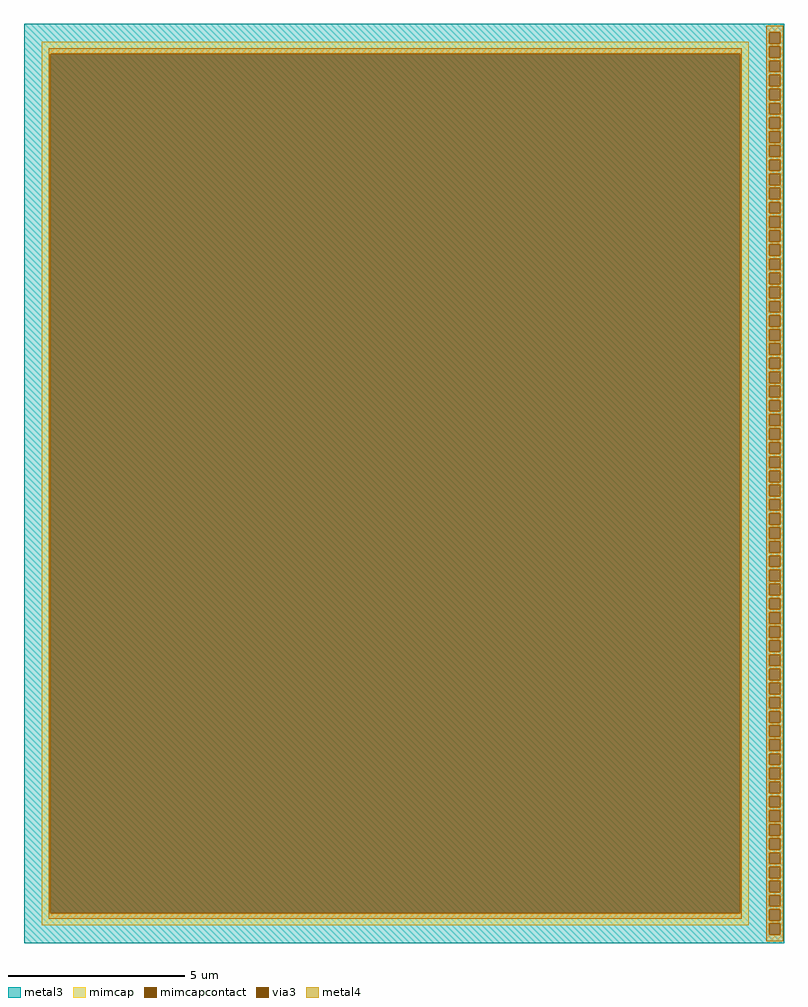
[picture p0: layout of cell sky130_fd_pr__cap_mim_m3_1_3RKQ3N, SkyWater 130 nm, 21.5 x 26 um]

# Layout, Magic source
magic
tech sky130A
magscale 1 2
<< metal3 >>
rect -2150 2552 2149 2600
rect -2150 2488 2065 2552
rect 2129 2488 2149 2552
rect -2150 2472 2149 2488
rect -2150 2408 2065 2472
rect 2129 2408 2149 2472
rect -2150 2392 2149 2408
rect -2150 2328 2065 2392
rect 2129 2328 2149 2392
rect -2150 2312 2149 2328
rect -2150 2248 2065 2312
rect 2129 2248 2149 2312
rect -2150 2232 2149 2248
rect -2150 2168 2065 2232
rect 2129 2168 2149 2232
rect -2150 2152 2149 2168
rect -2150 2088 2065 2152
rect 2129 2088 2149 2152
rect -2150 2072 2149 2088
rect -2150 2008 2065 2072
rect 2129 2008 2149 2072
rect -2150 1992 2149 2008
rect -2150 1928 2065 1992
rect 2129 1928 2149 1992
rect -2150 1912 2149 1928
rect -2150 1848 2065 1912
rect 2129 1848 2149 1912
rect -2150 1832 2149 1848
rect -2150 1768 2065 1832
rect 2129 1768 2149 1832
rect -2150 1752 2149 1768
rect -2150 1688 2065 1752
rect 2129 1688 2149 1752
rect -2150 1672 2149 1688
rect -2150 1608 2065 1672
rect 2129 1608 2149 1672
rect -2150 1592 2149 1608
rect -2150 1528 2065 1592
rect 2129 1528 2149 1592
rect -2150 1512 2149 1528
rect -2150 1448 2065 1512
rect 2129 1448 2149 1512
rect -2150 1432 2149 1448
rect -2150 1368 2065 1432
rect 2129 1368 2149 1432
rect -2150 1352 2149 1368
rect -2150 1288 2065 1352
rect 2129 1288 2149 1352
rect -2150 1272 2149 1288
rect -2150 1208 2065 1272
rect 2129 1208 2149 1272
rect -2150 1192 2149 1208
rect -2150 1128 2065 1192
rect 2129 1128 2149 1192
rect -2150 1112 2149 1128
rect -2150 1048 2065 1112
rect 2129 1048 2149 1112
rect -2150 1032 2149 1048
rect -2150 968 2065 1032
rect 2129 968 2149 1032
rect -2150 952 2149 968
rect -2150 888 2065 952
rect 2129 888 2149 952
rect -2150 872 2149 888
rect -2150 808 2065 872
rect 2129 808 2149 872
rect -2150 792 2149 808
rect -2150 728 2065 792
rect 2129 728 2149 792
rect -2150 712 2149 728
rect -2150 648 2065 712
rect 2129 648 2149 712
rect -2150 632 2149 648
rect -2150 568 2065 632
rect 2129 568 2149 632
rect -2150 552 2149 568
rect -2150 488 2065 552
rect 2129 488 2149 552
rect -2150 472 2149 488
rect -2150 408 2065 472
rect 2129 408 2149 472
rect -2150 392 2149 408
rect -2150 328 2065 392
rect 2129 328 2149 392
rect -2150 312 2149 328
rect -2150 248 2065 312
rect 2129 248 2149 312
rect -2150 232 2149 248
rect -2150 168 2065 232
rect 2129 168 2149 232
rect -2150 152 2149 168
rect -2150 88 2065 152
rect 2129 88 2149 152
rect -2150 72 2149 88
rect -2150 8 2065 72
rect 2129 8 2149 72
rect -2150 -8 2149 8
rect -2150 -72 2065 -8
rect 2129 -72 2149 -8
rect -2150 -88 2149 -72
rect -2150 -152 2065 -88
rect 2129 -152 2149 -88
rect -2150 -168 2149 -152
rect -2150 -232 2065 -168
rect 2129 -232 2149 -168
rect -2150 -248 2149 -232
rect -2150 -312 2065 -248
rect 2129 -312 2149 -248
rect -2150 -328 2149 -312
rect -2150 -392 2065 -328
rect 2129 -392 2149 -328
rect -2150 -408 2149 -392
rect -2150 -472 2065 -408
rect 2129 -472 2149 -408
rect -2150 -488 2149 -472
rect -2150 -552 2065 -488
rect 2129 -552 2149 -488
rect -2150 -568 2149 -552
rect -2150 -632 2065 -568
rect 2129 -632 2149 -568
rect -2150 -648 2149 -632
rect -2150 -712 2065 -648
rect 2129 -712 2149 -648
rect -2150 -728 2149 -712
rect -2150 -792 2065 -728
rect 2129 -792 2149 -728
rect -2150 -808 2149 -792
rect -2150 -872 2065 -808
rect 2129 -872 2149 -808
rect -2150 -888 2149 -872
rect -2150 -952 2065 -888
rect 2129 -952 2149 -888
rect -2150 -968 2149 -952
rect -2150 -1032 2065 -968
rect 2129 -1032 2149 -968
rect -2150 -1048 2149 -1032
rect -2150 -1112 2065 -1048
rect 2129 -1112 2149 -1048
rect -2150 -1128 2149 -1112
rect -2150 -1192 2065 -1128
rect 2129 -1192 2149 -1128
rect -2150 -1208 2149 -1192
rect -2150 -1272 2065 -1208
rect 2129 -1272 2149 -1208
rect -2150 -1288 2149 -1272
rect -2150 -1352 2065 -1288
rect 2129 -1352 2149 -1288
rect -2150 -1368 2149 -1352
rect -2150 -1432 2065 -1368
rect 2129 -1432 2149 -1368
rect -2150 -1448 2149 -1432
rect -2150 -1512 2065 -1448
rect 2129 -1512 2149 -1448
rect -2150 -1528 2149 -1512
rect -2150 -1592 2065 -1528
rect 2129 -1592 2149 -1528
rect -2150 -1608 2149 -1592
rect -2150 -1672 2065 -1608
rect 2129 -1672 2149 -1608
rect -2150 -1688 2149 -1672
rect -2150 -1752 2065 -1688
rect 2129 -1752 2149 -1688
rect -2150 -1768 2149 -1752
rect -2150 -1832 2065 -1768
rect 2129 -1832 2149 -1768
rect -2150 -1848 2149 -1832
rect -2150 -1912 2065 -1848
rect 2129 -1912 2149 -1848
rect -2150 -1928 2149 -1912
rect -2150 -1992 2065 -1928
rect 2129 -1992 2149 -1928
rect -2150 -2008 2149 -1992
rect -2150 -2072 2065 -2008
rect 2129 -2072 2149 -2008
rect -2150 -2088 2149 -2072
rect -2150 -2152 2065 -2088
rect 2129 -2152 2149 -2088
rect -2150 -2168 2149 -2152
rect -2150 -2232 2065 -2168
rect 2129 -2232 2149 -2168
rect -2150 -2248 2149 -2232
rect -2150 -2312 2065 -2248
rect 2129 -2312 2149 -2248
rect -2150 -2328 2149 -2312
rect -2150 -2392 2065 -2328
rect 2129 -2392 2149 -2328
rect -2150 -2408 2149 -2392
rect -2150 -2472 2065 -2408
rect 2129 -2472 2149 -2408
rect -2150 -2488 2149 -2472
rect -2150 -2552 2065 -2488
rect 2129 -2552 2149 -2488
rect -2150 -2600 2149 -2552
<< via3 >>
rect 2065 2488 2129 2552
rect 2065 2408 2129 2472
rect 2065 2328 2129 2392
rect 2065 2248 2129 2312
rect 2065 2168 2129 2232
rect 2065 2088 2129 2152
rect 2065 2008 2129 2072
rect 2065 1928 2129 1992
rect 2065 1848 2129 1912
rect 2065 1768 2129 1832
rect 2065 1688 2129 1752
rect 2065 1608 2129 1672
rect 2065 1528 2129 1592
rect 2065 1448 2129 1512
rect 2065 1368 2129 1432
rect 2065 1288 2129 1352
rect 2065 1208 2129 1272
rect 2065 1128 2129 1192
rect 2065 1048 2129 1112
rect 2065 968 2129 1032
rect 2065 888 2129 952
rect 2065 808 2129 872
rect 2065 728 2129 792
rect 2065 648 2129 712
rect 2065 568 2129 632
rect 2065 488 2129 552
rect 2065 408 2129 472
rect 2065 328 2129 392
rect 2065 248 2129 312
rect 2065 168 2129 232
rect 2065 88 2129 152
rect 2065 8 2129 72
rect 2065 -72 2129 -8
rect 2065 -152 2129 -88
rect 2065 -232 2129 -168
rect 2065 -312 2129 -248
rect 2065 -392 2129 -328
rect 2065 -472 2129 -408
rect 2065 -552 2129 -488
rect 2065 -632 2129 -568
rect 2065 -712 2129 -648
rect 2065 -792 2129 -728
rect 2065 -872 2129 -808
rect 2065 -952 2129 -888
rect 2065 -1032 2129 -968
rect 2065 -1112 2129 -1048
rect 2065 -1192 2129 -1128
rect 2065 -1272 2129 -1208
rect 2065 -1352 2129 -1288
rect 2065 -1432 2129 -1368
rect 2065 -1512 2129 -1448
rect 2065 -1592 2129 -1528
rect 2065 -1672 2129 -1608
rect 2065 -1752 2129 -1688
rect 2065 -1832 2129 -1768
rect 2065 -1912 2129 -1848
rect 2065 -1992 2129 -1928
rect 2065 -2072 2129 -2008
rect 2065 -2152 2129 -2088
rect 2065 -2232 2129 -2168
rect 2065 -2312 2129 -2248
rect 2065 -2392 2129 -2328
rect 2065 -2472 2129 -2408
rect 2065 -2552 2129 -2488
<< mimcap >>
rect -2050 2432 1950 2500
rect -2050 -2432 -2002 2432
rect 1902 -2432 1950 2432
rect -2050 -2500 1950 -2432
<< mimcapcontact >>
rect -2002 -2432 1902 2432
<< metal4 >>
rect 2049 2552 2145 2588
rect 2049 2488 2065 2552
rect 2129 2488 2145 2552
rect 2049 2472 2145 2488
rect -2011 2432 1911 2461
rect -2011 -2432 -2002 2432
rect 1902 -2432 1911 2432
rect -2011 -2461 1911 -2432
rect 2049 2408 2065 2472
rect 2129 2408 2145 2472
rect 2049 2392 2145 2408
rect 2049 2328 2065 2392
rect 2129 2328 2145 2392
rect 2049 2312 2145 2328
rect 2049 2248 2065 2312
rect 2129 2248 2145 2312
rect 2049 2232 2145 2248
rect 2049 2168 2065 2232
rect 2129 2168 2145 2232
rect 2049 2152 2145 2168
rect 2049 2088 2065 2152
rect 2129 2088 2145 2152
rect 2049 2072 2145 2088
rect 2049 2008 2065 2072
rect 2129 2008 2145 2072
rect 2049 1992 2145 2008
rect 2049 1928 2065 1992
rect 2129 1928 2145 1992
rect 2049 1912 2145 1928
rect 2049 1848 2065 1912
rect 2129 1848 2145 1912
rect 2049 1832 2145 1848
rect 2049 1768 2065 1832
rect 2129 1768 2145 1832
rect 2049 1752 2145 1768
rect 2049 1688 2065 1752
rect 2129 1688 2145 1752
rect 2049 1672 2145 1688
rect 2049 1608 2065 1672
rect 2129 1608 2145 1672
rect 2049 1592 2145 1608
rect 2049 1528 2065 1592
rect 2129 1528 2145 1592
rect 2049 1512 2145 1528
rect 2049 1448 2065 1512
rect 2129 1448 2145 1512
rect 2049 1432 2145 1448
rect 2049 1368 2065 1432
rect 2129 1368 2145 1432
rect 2049 1352 2145 1368
rect 2049 1288 2065 1352
rect 2129 1288 2145 1352
rect 2049 1272 2145 1288
rect 2049 1208 2065 1272
rect 2129 1208 2145 1272
rect 2049 1192 2145 1208
rect 2049 1128 2065 1192
rect 2129 1128 2145 1192
rect 2049 1112 2145 1128
rect 2049 1048 2065 1112
rect 2129 1048 2145 1112
rect 2049 1032 2145 1048
rect 2049 968 2065 1032
rect 2129 968 2145 1032
rect 2049 952 2145 968
rect 2049 888 2065 952
rect 2129 888 2145 952
rect 2049 872 2145 888
rect 2049 808 2065 872
rect 2129 808 2145 872
rect 2049 792 2145 808
rect 2049 728 2065 792
rect 2129 728 2145 792
rect 2049 712 2145 728
rect 2049 648 2065 712
rect 2129 648 2145 712
rect 2049 632 2145 648
rect 2049 568 2065 632
rect 2129 568 2145 632
rect 2049 552 2145 568
rect 2049 488 2065 552
rect 2129 488 2145 552
rect 2049 472 2145 488
rect 2049 408 2065 472
rect 2129 408 2145 472
rect 2049 392 2145 408
rect 2049 328 2065 392
rect 2129 328 2145 392
rect 2049 312 2145 328
rect 2049 248 2065 312
rect 2129 248 2145 312
rect 2049 232 2145 248
rect 2049 168 2065 232
rect 2129 168 2145 232
rect 2049 152 2145 168
rect 2049 88 2065 152
rect 2129 88 2145 152
rect 2049 72 2145 88
rect 2049 8 2065 72
rect 2129 8 2145 72
rect 2049 -8 2145 8
rect 2049 -72 2065 -8
rect 2129 -72 2145 -8
rect 2049 -88 2145 -72
rect 2049 -152 2065 -88
rect 2129 -152 2145 -88
rect 2049 -168 2145 -152
rect 2049 -232 2065 -168
rect 2129 -232 2145 -168
rect 2049 -248 2145 -232
rect 2049 -312 2065 -248
rect 2129 -312 2145 -248
rect 2049 -328 2145 -312
rect 2049 -392 2065 -328
rect 2129 -392 2145 -328
rect 2049 -408 2145 -392
rect 2049 -472 2065 -408
rect 2129 -472 2145 -408
rect 2049 -488 2145 -472
rect 2049 -552 2065 -488
rect 2129 -552 2145 -488
rect 2049 -568 2145 -552
rect 2049 -632 2065 -568
rect 2129 -632 2145 -568
rect 2049 -648 2145 -632
rect 2049 -712 2065 -648
rect 2129 -712 2145 -648
rect 2049 -728 2145 -712
rect 2049 -792 2065 -728
rect 2129 -792 2145 -728
rect 2049 -808 2145 -792
rect 2049 -872 2065 -808
rect 2129 -872 2145 -808
rect 2049 -888 2145 -872
rect 2049 -952 2065 -888
rect 2129 -952 2145 -888
rect 2049 -968 2145 -952
rect 2049 -1032 2065 -968
rect 2129 -1032 2145 -968
rect 2049 -1048 2145 -1032
rect 2049 -1112 2065 -1048
rect 2129 -1112 2145 -1048
rect 2049 -1128 2145 -1112
rect 2049 -1192 2065 -1128
rect 2129 -1192 2145 -1128
rect 2049 -1208 2145 -1192
rect 2049 -1272 2065 -1208
rect 2129 -1272 2145 -1208
rect 2049 -1288 2145 -1272
rect 2049 -1352 2065 -1288
rect 2129 -1352 2145 -1288
rect 2049 -1368 2145 -1352
rect 2049 -1432 2065 -1368
rect 2129 -1432 2145 -1368
rect 2049 -1448 2145 -1432
rect 2049 -1512 2065 -1448
rect 2129 -1512 2145 -1448
rect 2049 -1528 2145 -1512
rect 2049 -1592 2065 -1528
rect 2129 -1592 2145 -1528
rect 2049 -1608 2145 -1592
rect 2049 -1672 2065 -1608
rect 2129 -1672 2145 -1608
rect 2049 -1688 2145 -1672
rect 2049 -1752 2065 -1688
rect 2129 -1752 2145 -1688
rect 2049 -1768 2145 -1752
rect 2049 -1832 2065 -1768
rect 2129 -1832 2145 -1768
rect 2049 -1848 2145 -1832
rect 2049 -1912 2065 -1848
rect 2129 -1912 2145 -1848
rect 2049 -1928 2145 -1912
rect 2049 -1992 2065 -1928
rect 2129 -1992 2145 -1928
rect 2049 -2008 2145 -1992
rect 2049 -2072 2065 -2008
rect 2129 -2072 2145 -2008
rect 2049 -2088 2145 -2072
rect 2049 -2152 2065 -2088
rect 2129 -2152 2145 -2088
rect 2049 -2168 2145 -2152
rect 2049 -2232 2065 -2168
rect 2129 -2232 2145 -2168
rect 2049 -2248 2145 -2232
rect 2049 -2312 2065 -2248
rect 2129 -2312 2145 -2248
rect 2049 -2328 2145 -2312
rect 2049 -2392 2065 -2328
rect 2129 -2392 2145 -2328
rect 2049 -2408 2145 -2392
rect 2049 -2472 2065 -2408
rect 2129 -2472 2145 -2408
rect 2049 -2488 2145 -2472
rect 2049 -2552 2065 -2488
rect 2129 -2552 2145 -2488
rect 2049 -2588 2145 -2552
<< properties >>
string FIXED_BBOX -2150 -2600 2050 2600
<< end >>
